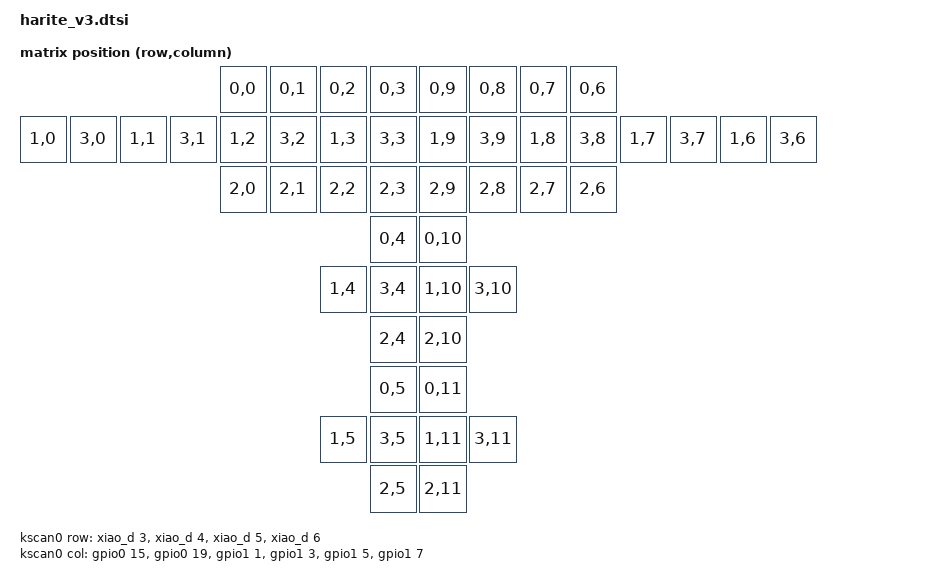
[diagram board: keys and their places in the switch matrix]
#include <dt-bindings/zmk/matrix_transform.h>
#include <zephyr/dt-bindings/input/input-event-codes.h>

/ {
    kscan0: kscan0 {
        compatible = "zmk,kscan-gpio-matrix";
        diode-direction = "col2row";
        wakeup-source;

        row-gpios
            = <&xiao_d 3 (GPIO_ACTIVE_HIGH | GPIO_PULL_DOWN)>
            , <&xiao_d 4 (GPIO_ACTIVE_HIGH | GPIO_PULL_DOWN)>
            , <&xiao_d 5 (GPIO_ACTIVE_HIGH | GPIO_PULL_DOWN)>
            , <&xiao_d 6 (GPIO_ACTIVE_HIGH | GPIO_PULL_DOWN)>
            ;

        col-gpios
            = <&gpio0 15 GPIO_ACTIVE_HIGH>
            , <&gpio0 19 GPIO_ACTIVE_HIGH>
            , <&gpio1 1 GPIO_ACTIVE_HIGH>
            , <&gpio1 3 GPIO_ACTIVE_HIGH>
            , <&gpio1 5 GPIO_ACTIVE_HIGH>
            , <&gpio1 7 GPIO_ACTIVE_HIGH>
            ;
    };

    default_transform: keymap_transform_0 {
        compatible = "zmk,matrix-transform";
        columns = <24>;
        rows = <9>;
        map = <
                RC(0,0)                 RC(0,1)                 RC(0,2)                 RC(0,3)                  RC(0,9)                  RC(0,8)                 RC(0,7)                 RC(0,6)
        RC(1,0)         RC(3,0) RC(1,1)         RC(3,1) RC(1,2)         RC(3,2) RC(1,3)         RC(3,3) RC(1,9)           RC(3,9) RC(1,8)         RC(3,8) RC(1,7)         RC(3,7) RC(1,6)         RC(3,6)
                RC(2,0)                 RC(2,1)                 RC(2,2)                 RC(2,3)                  RC(2,9)                  RC(2,8)                 RC(2,7)                 RC(2,6)
                                                                                        RC(0,4)                  RC(0,10)
                                                                                RC(1,4)         RC(3,4) RC(1,10)          RC(3,10)
                                                                                        RC(2,4)                  RC(2,10)
                                                                                        RC(0,5)                  RC(0,11)
                                                                                RC(1,5)         RC(3,5) RC(1,11)          RC(3,11)
                                                                                        RC(2,5)                  RC(2,11)
        >;
    };
    physical_layout0: physical_layout_0 { // First physical layout, use different naming for other layouts
        compatible = "zmk,physical-layout";
        display-name = "Default Layout";
        kscan = <&kscan0>; // Label of the kscan node, optional if all layouts use the same
        transform = <&default_transform>; // Label of the matrix transform for this layout
    };

    chosen {
        zmk,physical-layout = &physical_layout0;
        // Other chosen items
    };
};

&pinctrl {
    spi0_default: spi0_default {
        group1 {
            psels = <NRF_PSEL(SPIM_SCK, 1, 13)>,
                    <NRF_PSEL(SPIM_MOSI, 1, 14)>,
                    <NRF_PSEL(SPIM_MISO, 1, 14)>;
        };
    };

    spi0_sleep: spi0_sleep {
        group1 {
            psels = <NRF_PSEL(SPIM_SCK, 1, 13)>,
                    <NRF_PSEL(SPIM_MOSI, 1, 14)>,
                    <NRF_PSEL(SPIM_MISO, 1, 14)>;
            low-power-enable;
        };
    };
};

&spi0 {
    status = "okay";
    compatible = "nordic,nrf-spim";
    pinctrl-0 = <&spi0_default>;
    pinctrl-1 = <&spi0_sleep>;
    pinctrl-names = "default", "sleep";
    cs-gpios = <&xiao_d 7 GPIO_ACTIVE_LOW>;
    trackball: trackball@0 {
        status = "okay";
        compatible = "pixart,pmw3610";
        reg = <0>;
        spi-max-frequency = <2000000>;
        irq-gpios = <&xiao_d 10 (GPIO_ACTIVE_LOW | GPIO_PULL_UP)>;
        cpi = <800>;
        evt-type = <INPUT_EV_REL>;
        x-input-code = <INPUT_REL_X>;
        y-input-code = <INPUT_REL_Y>;

        force-awake;
        /* keep the sensor awake while ZMK activity state is ACTIVE,
           fallback to normal downshift mode after ZMK goes into IDLE / SLEEP mode.
           thus, the sensor would be a `wakeup-source` */
    };
};

/ {
    trackball_listener {
        compatible = "zmk,input-listener";
        device = <&trackball>;
    };
};
